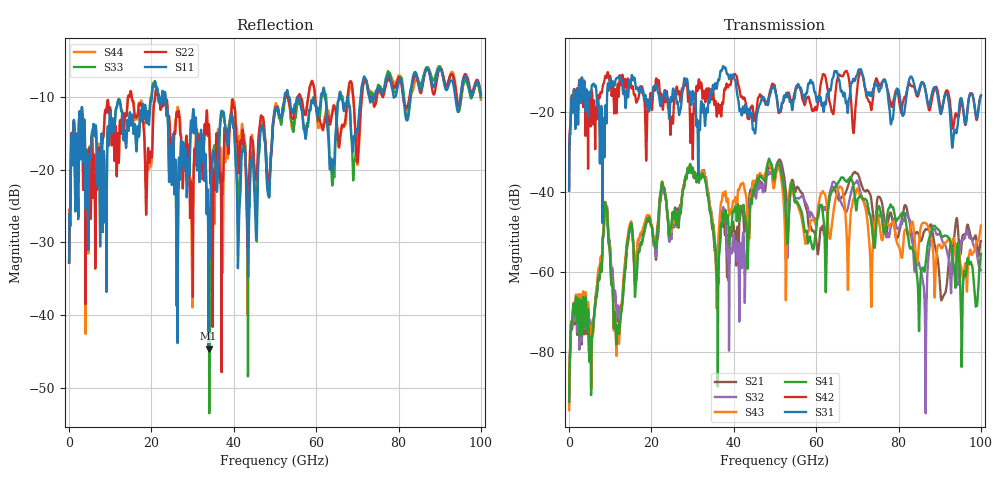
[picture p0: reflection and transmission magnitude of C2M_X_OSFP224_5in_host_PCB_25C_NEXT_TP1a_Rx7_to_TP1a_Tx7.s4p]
# GHz S RI R 45
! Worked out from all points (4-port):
!   4000 points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, 25 MHz to 100 GHz, reference 45 ohm
!   strongest paths, dB at 25 MHz, 25.02 GHz, 50.02 GHz, 75.03 GHz, 100 GHz:
!     S31: -39.7, -16.6, -14.6, -13.9, -15.7
!     S42: -39.3, -21.2, -13.8, -12.5, -15.9
!     S41: -92.5, -45.9, -35.7, -43.9, -55.5
!     S43: -94.6, -47.4, -37.2, -46.2, -48.4
!     S32: -92.3, -48.6, -36.7, -46.0, -59.5
!     S21: -93.1, -46.6, -34.8, -41.2, -52.3
!   lowest |S11| = -44.6 dB at 33.88 GHz (marker M1), VSWR 1.01, Z = 44.5 - j0.0217 ohm
!   |S11| at or under -10 dB: start of sweep to 20.1 GHz; 23.43 GHz to 52.31 GHz (28.88 GHz wide, 76.3 % of centre); 53.32 GHz to 61.14 GHz (7.823 GHz wide, 13.7 % of centre) (the widest 3 of 12)
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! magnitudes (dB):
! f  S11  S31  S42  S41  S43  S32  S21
! 25 MHz  -32.6  -39.7  -39.3  -92.5  -94.6  -92.3  -93.1
! 5.35 GHz  -17.0  -15.1  -19.2  -90.8  -82.4  -79.5  -80.1
! 8.95 GHz  -21.8  -19.0  -11.0  -44.0  -43.7  -43.8  -44.0
! 11.82 GHz  -10.7  -11.4  -12.8  -73.4  -73.8  -68.4  -70.2
! 14.8 GHz  -12.2  -12.2  -12.1  -48.9  -48.0  -48.7  -49.4
! 33.88 GHz  -44.6  -16.7  -14.1  -42.0  -40.9  -40.3  -41.5
! 100 GHz  -9.8  -15.7  -15.9  -55.5  -48.4  -59.5  -52.3
